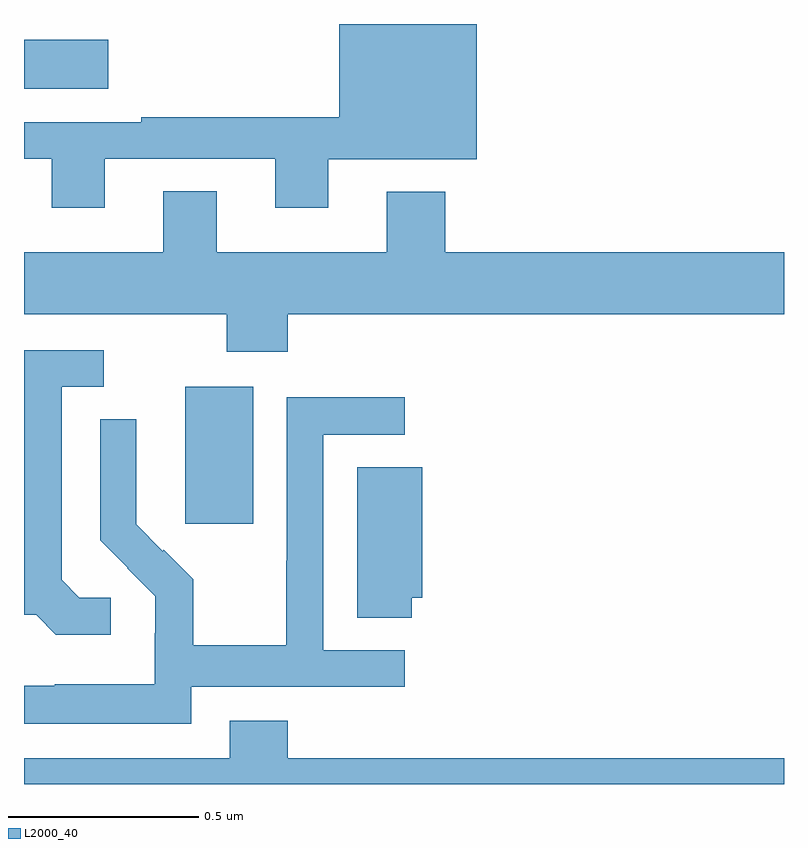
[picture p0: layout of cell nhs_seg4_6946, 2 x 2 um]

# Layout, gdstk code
import gdstk
lib = gdstk.Library(unit=1e-6, precision=1e-09)
def R(c, l, rs):  # rectangles x0, y0, x1, y1
    for r in rs: c.add(gdstk.rectangle(r[:2], r[2:], *l))
def P(c, l, *ps):  # polygons
    for p in ps: c.add(gdstk.Polygon(p, *l))
L2000_40 = (2000, 40)

nhs_seg4_6946 = lib.new_cell('nhs_seg4_6946')
R(nhs_seg4_6946, L2000_40, [(196.424,813.585,196.603,813.946), (196,814.73,196.222,814.858)])
P(nhs_seg4_6946, L2000_40, [(196.213,814.545),(196.661,814.545),(196.661,814.416),(196.801,814.416),(196.801,814.544),(197.191,814.544),(197.191,814.9),(196.829,814.9),(196.829,814.654),(196.309,814.654),(196.309,814.641),(196,814.641),(196,814.545),(196.073,814.545),(196.073,814.416),(196.213,814.416)],
  [(196.694,814.136),(198,814.136),(198,814.3),(197.108,814.3),(197.108,814.459),(196.955,814.459),(196.955,814.3),(196.507,814.3),(196.507,814.46),(196.367,814.46),(196.367,814.3),(196,814.3),(196,814.136),(196.534,814.136),(196.534,814.037),(196.694,814.037)],
  [(196.228,813.39),(196.146,813.39),(196.099,813.437),(196.099,813.945),(196.21,813.945),(196.21,814.041),(196,814.041),(196,813.345),(196.032,813.345),(196.084,813.293),(196.228,813.293)],
  [(196.44,813.156),(197.002,813.156),(197.002,813.252),(196.788,813.252),(196.788,813.819),(197.002,813.819),(197.002,813.918),(196.692,813.918),(196.692,813.488),(196.69,813.488),(196.69,813.265),(196.445,813.265),(196.445,813.439),(196.368,813.516),(196.365,813.513),(196.295,813.584),(196.295,813.706),(196.296,813.706),(196.296,813.86),(196.2,813.86),(196.2,813.542),(196.273,813.469),(196.272,813.468),(196.346,813.394),(196.346,813.297),(196.344,813.297),(196.344,813.163),(196.081,813.163),(196.081,813.159),(196,813.159),(196,813.059),(196.44,813.059)],
  [(197.021,813.39),(197.048,813.39),(197.048,813.734),(196.877,813.734),(196.877,813.337),(197.021,813.337)],
  [(198,812.968),(196.694,812.968),(196.694,813.067),(196.541,813.067),(196.541,812.968),(196,812.968),(196,812.9),(198,812.9)])

lib.write_gds('nhs_seg4_6946.gds')
